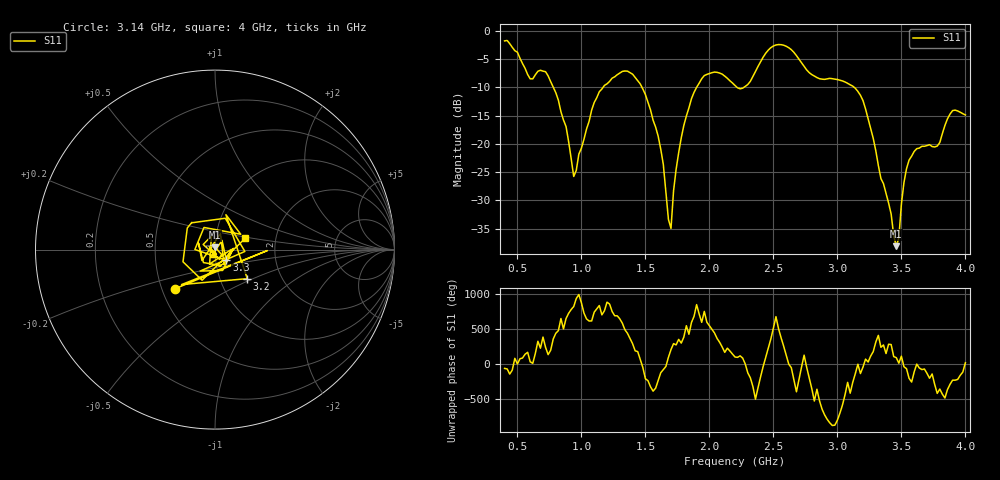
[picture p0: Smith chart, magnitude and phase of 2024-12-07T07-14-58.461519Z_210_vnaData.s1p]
!Created with skrf (http://scikit-rf.org).
# Hz S RI R 50.0
!freq ReS11 ImS11
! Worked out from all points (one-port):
!   181 points, 400 MHz to 4 GHz, reference 50 ohm
!   lowest |S11| = -38.1 dB at 3.46 GHz (marker M1), VSWR 1.03, Z = 49.9 + j1.24 ohm
!   |S11| at or under -10 dB: 781.2 MHz to 1.169 GHz (387.6 MHz wide, 39.8 % of centre); 1.474 GHz to 1.9 GHz (425.9 MHz wide, 25.2 % of centre); 3.132 GHz to end of sweep (the widest 3 of 4)
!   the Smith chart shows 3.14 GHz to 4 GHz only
!   S11 on the Smith chart (normalised r, x): 3.14 GHz: 0.59, -0.28; 3.2 GHz: 1.35, -0.46; 3.3 GHz: 1.13, -0.14; 4 GHz: 1.39, +0.18
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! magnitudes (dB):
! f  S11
! 400 MHz  -1.8
! 600 MHz  -8.5
! 720 MHz  -7.2
! 860 MHz  -15.8
! 940 MHz  -25.8
! 1.1 GHz  -12.7
! 1.3 GHz  -7.4
! 1.4 GHz  -7.7
! 1.54 GHz  -14.0
! 1.62 GHz  -20.9
! 1.7 GHz  -34.9
! 1.72 GHz  -28.3
! 1.76 GHz  -21.5
! 1.86 GHz  -12.0
! 1.96 GHz  -7.9
! 2.2 GHz  -9.7
! 2.3 GHz  -9.5
! 2.5 GHz  -2.7
! 2.66 GHz  -3.8
! 3.1 GHz  -9.5
! 3.14 GHz  -10.1
! 3.2 GHz  -12.3
! 3.3 GHz  -21.2
! 3.46 GHz  -38.1
! 3.56 GHz  -22.9
! 3.78 GHz  -20.4
! 3.9 GHz  -14.1
! 4 GHz  -14.9
